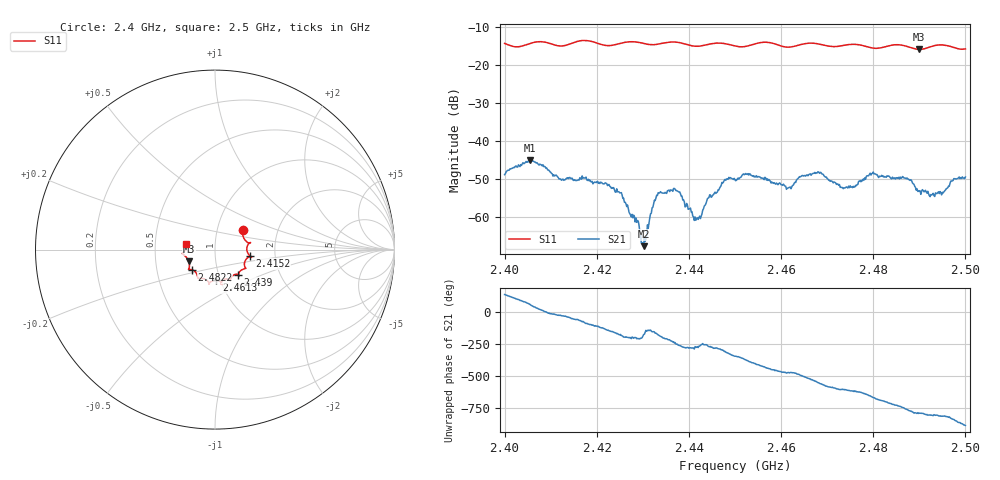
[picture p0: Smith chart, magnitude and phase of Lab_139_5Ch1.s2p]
# Hz S RI R 50
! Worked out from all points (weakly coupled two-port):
!   601 points, 2.4 GHz to 2.5 GHz, reference 50 ohm
!   highest |S21| = -45.10 dB at 2.4055 GHz (marker M1); lowest = -67.8 dB at 2.4302 GHz (marker M2)
!   lowest |S11| = -15.9 dB at 2.4898 GHz (marker M3), VSWR 1.38, Z = 37 - j5.03 ohm
!   |S11| at or under -10 dB: start of sweep to end of sweep
!   S12 and S22 are empty: the file has one direction only
!   S11 on the Smith chart (normalised r, x): 2.4 GHz: 1.33, +0.31; 2.4152 GHz: 1.48, -0.11; 2.439 GHz: 1.24, -0.36; 2.4613 GHz: 0.96, -0.34; 2.4822 GHz: 0.76, -0.17; 2.5 GHz: 0.72, +0.05
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2.4e9  0.156 0.1112  -0.00241 0.00265  0 0  0 0
2.4055e9  0.1874 0.0377  0.00315 0.00458  0 0  0 0
2.415167e9  0.1948 -0.0358  0.00148 -0.00269  0 0  0 0
2.416667e9  0.2043 -0.0417  0.00072 -0.00303  0 0  0 0
2.424833e9  0.1656 -0.0939  -0.00213 -2.21e-05  0 0  0 0
2.430167e9  0.1575 -0.1091  -0.00041 -4.58e-08  0 0  0 0
2.433333e9  0.1329 -0.1326  -0.00207 8.21e-05  0 0  0 0
2.437167e9  0.1355 -0.1462  -0.000669 0.00211  0 0  0 0
2.439e9  0.1282 -0.1391  0.000292 0.00155  0 0  0 0
2.442e9  0.0985 -0.1457  0.000169 0.000907  0 0  0 0
2.447667e9  0.0847 -0.1709  0.00199 0.00226  0 0  0 0
2.45e9  0.0687 -0.1637  0.00298 0.000598  0 0  0 0
2.452833e9  0.0397 -0.1733  0.00335 -0.00156  0 0  0 0
2.461333e9  0.00799 -0.1709  -0.0011 -0.0021  0 0  0 0
2.466667e9  -0.0332 -0.1904  -0.00358 -0.000595  0 0  0 0
2.4735e9  -0.0821 -0.1604  -0.000856 0.00218  0 0  0 0
2.482167e9  -0.1282 -0.1121  0.00315 0.00136  0 0  0 0
2.483333e9  -0.1394 -0.1105  0.00342 0.000403  0 0  0 0
2.487833e9  -0.1425 -0.0946  0.00185 -0.00242  0 0  0 0
2.489833e9  -0.1457 -0.0662  0.000594 -0.00208  0 0  0 0
2.494833e9  -0.1819 -0.0216  -0.000183 -0.00193  0 0  0 0
2.5e9  -0.1588 0.0334  -0.00326 -0.000696  0 0  0 0
